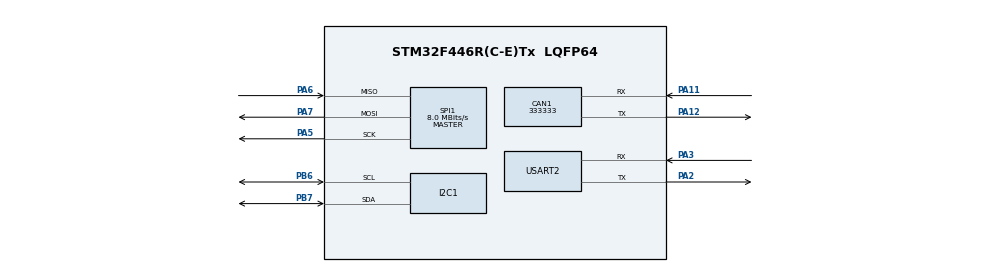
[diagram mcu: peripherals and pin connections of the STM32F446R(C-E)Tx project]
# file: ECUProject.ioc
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CAN1.CalculateBaudRate=333333
CAN1.CalculateTimeBit=3000
CAN1.CalculateTimeQuantum=1000.0
FREERTOS.Tasks01=defaultTask,24,128,StartDefaultTask,Default,NULL,Dynamic,NULL,NULL
Mcu.Family=STM32F4
Mcu.Name=STM32F446R(C-E)Tx
Mcu.Package=LQFP64
NVIC.CAN1_RX0_IRQn=true\:5\:0\:false\:false\:true\:true\:true\:true\:true
NVIC.PriorityGroup=NVIC_PRIORITYGROUP_4
PA11.Mode=CAN_Activate
PA11.Signal=CAN1_RX
PA12.Mode=CAN_Activate
PA12.Signal=CAN1_TX
PA2.Mode=Asynchronous
PA2.Signal=USART2_TX
PA3.Mode=Asynchronous
PA3.Signal=USART2_RX
PA5.Mode=Full_Duplex_Master
PA5.Signal=SPI1_SCK
PA6.Mode=Full_Duplex_Master
PA6.Signal=SPI1_MISO
PA7.Mode=Full_Duplex_Master
PA7.Signal=SPI1_MOSI
PB6.Mode=I2C
PB6.Signal=I2C1_SCL
PB7.Mode=I2C
PB7.Signal=I2C1_SDA
ProjectManager.HeapSize=0x200
ProjectManager.StackSize=0x400
ProjectManager.TargetToolchain=STM32CubeIDE
RCC.CortexFreq_Value=16000000
RCC.USBFreq_Value=96000000
RCC.VCOOutputFreq_Value=192000000
SPI1.CalculateBaudRate=8.0 MBits/s
SPI1.Direction=SPI_DIRECTION_2LINES
SPI1.Mode=SPI_MODE_MASTER
SPI1.VirtualType=VM_MASTER
USART2.VirtualMode=VM_ASYNC
VP_FREERTOS_VS_CMSIS_V2.Mode=CMSIS_V2
board=custom

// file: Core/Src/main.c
/* USER CODE BEGIN Header */
/**
  ******************************************************************************
  * @file           : main.c
  * @brief          : Main program body
  ******************************************************************************
  */
/* USER CODE END Header */
#include "main.h"
#include "cmsis_os.h"

/* USER CODE BEGIN Includes */
#include "pmic_mp5475.h"
#include "eeprom_25lc256.h"
#include "CAN_task.h"
#include "UART_task.h"
#include <stdio.h>
#include <string.h>
/* USER CODE END Includes */

CAN_HandleTypeDef hcan1;

I2C_HandleTypeDef hi2c1;

SPI_HandleTypeDef hspi1;

UART_HandleTypeDef huart2;

/* Definitions for defaultTask */
osThreadId_t defaultTaskHandle;
const osThreadAttr_t defaultTask_attributes = {
  .name = "defaultTask",
  .stack_size = 128 * 4,
  .priority = (osPriority_t) osPriorityNormal,
};
/* USER CODE BEGIN PV */
osThreadId_t i2cMonitorTaskHandle;
osThreadId_t spiEepromTaskHandle;
osThreadId_t dtcTaskhandle;
osThreadId_t canTaskHandle;
osThreadId_t uartTaskHandle;

osMutexId_t eepromMutexHandle;
osSemaphoreId_t i2cRxDoneSemaphoreHandle;
osSemaphoreId_t spiTxDoneSemaphoreHandle;
osSemaphoreId_t canTxDoneSemaphoreHandle;
osMessageQueueId_t CanQueueHandle;
osMutexId_t CommMutexHandleHandle;
osMessageQueueId_t dtcProcessingQueueHandle;
osMessageQueueId_t dtcQueueHandle;

volatile SystemState_t g_SystemState = SYS_STATE_INIT;
volatile I2C_State_t g_i2c_state = I2C_STATE_IDLE;

uint8_t g_i2c_rx_buffer[3];
/* USER CODE END PV */

void SystemClock_Config(void);
static void MX_GPIO_Init(void);
static void MX_CAN1_Init(void);
static void MX_I2C1_Init(void);
static void MX_SPI1_Init(void);
static void MX_USART2_UART_Init(void);
void StartDefaultTask(void *argument);
void Activate_Motor_And_Valve(void) { };
void Deactivate_Motor_And_Valve(void) { };

/* USER CODE BEGIN PFP */
int __io_putchar(int ch);
void MX_FREERTOS_Init(void);
/* USER CODE END PFP */

/* USER CODE BEGIN 0 */
int __io_putchar(int ch) {
    HAL_UART_Transmit(&huart2, (uint8_t *)&ch, 1, HAL_MAX_DELAY);
    return ch;
}

void BrakeControlTask(void *argument);
void I2cMonitorTask(void *argument);
void SpiEepromTask(void *argument);
void DtcProcessingTask(void *argument);
void HAL_I2C_ErrorCallback(I2C_HandleTypeDef *hi2c) { if (hi2c->Instance == I2C1) g_i2c_state = I2C_STATE_IDLE; }
void HAL_I2C_MemRxCpltCallback(I2C_HandleTypeDef *hi2c) { if (hi2c->Instance == I2C1) pmic_i2c_dma_rx_callback_handler(); }
void HAL_SPI_TxCpltCallback(SPI_HandleTypeDef *hspi) { if (hspi->Instance == SPI1) osSemaphoreRelease(spiTxDoneSemaphoreHandle); }
void HAL_CAN_TxMailbox0CompleteCallback(CAN_HandleTypeDef *hcan) { osSemaphoreRelease(canTxDoneSemaphoreHandle); }
void HAL_CAN_TxMailbox1CompleteCallback(CAN_HandleTypeDef *hcan) { osSemaphoreRelease(canTxDoneSemaphoreHandle); }
void HAL_CAN_TxMailbox2CompleteCallback(CAN_HandleTypeDef *hcan) { osSemaphoreRelease(canTxDoneSemaphoreHandle); }
void HAL_CAN_RxFifo0MsgPendingCallback(CAN_HandleTypeDef *hcan) { CAN_RxCallback(hcan); }
/* USER CODE END 0 */

int main(void)
{

  /* MCU Configuration--------------------------------------------------------*/

  /* Reset of all peripherals, Initializes the Flash interface and the Systick. */
  HAL_Init();

  /* Configure the system clock */
  SystemClock_Config();

  /* Initialize all configured peripherals */
  MX_GPIO_Init();
  MX_CAN1_Init();
  MX_I2C1_Init();
  MX_SPI1_Init();
  MX_USART2_UART_Init();
  /* USER CODE BEGIN 2 */
  CAN_FilterTypeDef canfilterconfig = {0};
  canfilterconfig.FilterActivation = CAN_FILTER_ENABLE;
  canfilterconfig.FilterMode = CAN_FILTERMODE_IDMASK;
  HAL_CAN_ConfigFilter(&hcan1, &canfilterconfig);

  CAN_Init();           // CAN 시작 + 인터럽트 활성화
  EEPROM_ReadDTC();     // 부팅 시 EEPROM에서 DTC 복원
  printf("ECU System Initialized.\r\n");
  /* USER CODE END 2 */

  /* Init scheduler */
  osKernelInitialize();

  /* USER CODE BEGIN RTOS_MUTEX */
  eepromMutexHandle = osMutexNew(NULL);
  /* USER CODE END RTOS_MUTEX */

  /* USER CODE BEGIN RTOS_SEMAPHORES */
  i2cRxDoneSemaphoreHandle = osSemaphoreNew(1, 0, NULL);
  spiTxDoneSemaphoreHandle = osSemaphoreNew(1, 0, NULL);
  canTxDoneSemaphoreHandle = osSemaphoreNew(1, 0, NULL);
  /* USER CODE END RTOS_SEMAPHORES */

  /* USER CODE BEGIN RTOS_QUEUES */
  CanQueueHandle = osMessageQueueNew(8, sizeof(uint8_t[8]), NULL);
  dtcProcessingQueueHandle = osMessageQueueNew(8, sizeof(DtcEvent_t), NULL);
  dtcQueueHandle = osMessageQueueNew(8, sizeof(uint32_t), NULL);

  /* USER CODE END RTOS_QUEUES */

  /* Create the thread(s) */
  /* creation of defaultTask */
  defaultTaskHandle = osThreadNew(StartDefaultTask, NULL, &defaultTask_attributes);

  /* USER CODE BEGIN RTOS_THREADS */
  const osThreadAttr_t i2cAttr  = { .stack_size = 256 * 4, .priority = osPriorityHigh };     /// 우선순위 반영
  const osThreadAttr_t spiAttr  = { .stack_size = 256 * 4, .priority = osPriorityAboveNormal };
  const osThreadAttr_t dtcAttr = { .stack_size = 256 * 4, .priority = osPriorityAboveNormal };
  const osThreadAttr_t canAttr  = { .stack_size = 256 * 4, .priority = osPriorityNormal };
  const osThreadAttr_t uartAttr = { .stack_size = 256 * 4, .priority = osPriorityBelowNormal };
  const osThreadAttr_t brakeCtrlAttr = { .name = "BrakeControl", .stack_size = 256 * 4, .priority = osPriorityHigh };

  i2cMonitorTaskHandle = osThreadNew(I2cMonitorTask , NULL, &i2cAttr);
  spiEepromTaskHandle  = osThreadNew(SpiEepromTask  , NULL, &spiAttr);
  dtcTaskhandle 	   = osThreadNew(DtcProcessingTask, NULL, &dtcAttr);
  canTaskHandle        = osThreadNew(CAN_StartTask, NULL, &canAttr);
  uartTaskHandle       = osThreadNew(UART_StartTask, NULL, &uartAttr);
  osThreadNew(BrakeControlTask, NULL, &brakeCtrlAttr);

  /* USER CODE END RTOS_THREADS */

  /* Start scheduler */
  osKernelStart();

  /* We should never get here as control is now taken by the scheduler */

  /* Infinite loop */
  while (1)
  {

  }
}

void SystemClock_Config(void)
{
  RCC_OscInitTypeDef RCC_OscInitStruct = {0};
  RCC_ClkInitTypeDef RCC_ClkInitStruct = {0};

  /** Configure the main internal regulator output voltage
  */
  __HAL_RCC_PWR_CLK_ENABLE();
  __HAL_PWR_VOLTAGESCALING_CONFIG(PWR_REGULATOR_VOLTAGE_SCALE3);

  /** Initializes the RCC Oscillators according to the specified parameters
  * in the RCC_OscInitTypeDef structure.
  */
  RCC_OscInitStruct.OscillatorType = RCC_OSCILLATORTYPE_HSI;
  RCC_OscInitStruct.HSIState = RCC_HSI_ON;
  RCC_OscInitStruct.HSICalibrationValue = RCC_HSICALIBRATION_DEFAULT;
  RCC_OscInitStruct.PLL.PLLState = RCC_PLL_NONE;
  if (HAL_RCC_OscConfig(&RCC_OscInitStruct) != HAL_OK)
  {
    Error_Handler();
  }

  /** Initializes the CPU, AHB and APB buses clocks
  */
  RCC_ClkInitStruct.ClockType = RCC_CLOCKTYPE_HCLK|RCC_CLOCKTYPE_SYSCLK
                              |RCC_CLOCKTYPE_PCLK1|RCC_CLOCKTYPE_PCLK2;
  RCC_ClkInitStruct.SYSCLKSource = RCC_SYSCLKSOURCE_HSI;
  RCC_ClkInitStruct.AHBCLKDivider = RCC_SYSCLK_DIV1;
  RCC_ClkInitStruct.APB1CLKDivider = RCC_HCLK_DIV1;
  RCC_ClkInitStruct.APB2CLKDivider = RCC_HCLK_DIV1;

  if (HAL_RCC_ClockConfig(&RCC_ClkInitStruct, FLASH_LATENCY_0) != HAL_OK)
  {
    Error_Handler();
  }
}

static void MX_CAN1_Init(void)
{

  hcan1.Instance = CAN1;
  hcan1.Init.Prescaler = 16;
  hcan1.Init.Mode = CAN_MODE_NORMAL;
  hcan1.Init.SyncJumpWidth = CAN_SJW_1TQ;
  hcan1.Init.TimeSeg1 = CAN_BS1_1TQ;
  hcan1.Init.TimeSeg2 = CAN_BS2_1TQ;
  hcan1.Init.TimeTriggeredMode = DISABLE;
  hcan1.Init.AutoBusOff = DISABLE;
  hcan1.Init.AutoWakeUp = DISABLE;
  hcan1.Init.AutoRetransmission = DISABLE;
  hcan1.Init.ReceiveFifoLocked = DISABLE;
  hcan1.Init.TransmitFifoPriority = DISABLE;
  if (HAL_CAN_Init(&hcan1) != HAL_OK)
  {
    Error_Handler();
  }

}

static void MX_I2C1_Init(void)
{

  hi2c1.Instance = I2C1;
  hi2c1.Init.ClockSpeed = 100000;
  hi2c1.Init.DutyCycle = I2C_DUTYCYCLE_2;
  hi2c1.Init.OwnAddress1 = 0;
  hi2c1.Init.AddressingMode = I2C_ADDRESSINGMODE_7BIT;
  hi2c1.Init.DualAddressMode = I2C_DUALADDRESS_DISABLE;
  hi2c1.Init.OwnAddress2 = 0;
  hi2c1.Init.GeneralCallMode = I2C_GENERALCALL_DISABLE;
  hi2c1.Init.NoStretchMode = I2C_NOSTRETCH_DISABLE;
  if (HAL_I2C_Init(&hi2c1) != HAL_OK)
  {
    Error_Handler();
  }

}

static void MX_SPI1_Init(void)
{

  /* SPI1 parameter configuration*/
  hspi1.Instance = SPI1;
  hspi1.Init.Mode = SPI_MODE_MASTER;
  hspi1.Init.Direction = SPI_DIRECTION_2LINES;
  hspi1.Init.DataSize = SPI_DATASIZE_8BIT;
  hspi1.Init.CLKPolarity = SPI_POLARITY_LOW;
  hspi1.Init.CLKPhase = SPI_PHASE_1EDGE;
  hspi1.Init.NSS = SPI_NSS_SOFT;
  hspi1.Init.BaudRatePrescaler = SPI_BAUDRATEPRESCALER_2;
  hspi1.Init.FirstBit = SPI_FIRSTBIT_MSB;
  hspi1.Init.TIMode = SPI_TIMODE_DISABLE;
  hspi1.Init.CRCCalculation = SPI_CRCCALCULATION_DISABLE;
  hspi1.Init.CRCPolynomial = 10;
  if (HAL_SPI_Init(&hspi1) != HAL_OK)
  {
    Error_Handler();
  }

}

static void MX_USART2_UART_Init(void)
{

  huart2.Instance = USART2;
  huart2.Init.BaudRate = 115200;
  huart2.Init.WordLength = UART_WORDLENGTH_8B;
  huart2.Init.StopBits = UART_STOPBITS_1;
  huart2.Init.Parity = UART_PARITY_NONE;
  huart2.Init.Mode = UART_MODE_TX_RX;
  huart2.Init.HwFlowCtl = UART_HWCONTROL_NONE;
  huart2.Init.OverSampling = UART_OVERSAMPLING_16;
  if (HAL_UART_Init(&huart2) != HAL_OK)
  {
    Error_Handler();
  }

}

static void MX_GPIO_Init(void)
{

  /* GPIO Ports Clock Enable */
  __HAL_RCC_GPIOA_CLK_ENABLE();
  __HAL_RCC_GPIOB_CLK_ENABLE();

}

/* USER CODE BEGIN 4 */
void I2cMonitorTask(void *argument) {
  for(;;) {
    pmic_request_fault_read_dma();   // PMIC 상태를 DMA로 읽기
    osDelay(200);
  }
}

void SpiEepromTask(void *argument) {
  for(;;) {
    osMutexAcquire(eepromMutexHandle, osWaitForever);
    EEPROM_WriteDTC();   // EEPROM에 DTC 백업
    osMutexRelease(eepromMutexHandle);
    osDelay(5000);
  }
}

void DtcProcessingTask(void *argument) {
    DtcEvent_t event;
    for(;;) {
        if (osMessageQueueGet(dtcProcessingQueueHandle, &event, NULL, osWaitForever) == osOK) {
            if (event.command == DTC_EVENT_WRITE) {
                osMutexAcquire(eepromMutexHandle, osWaitForever);
                EEPROM_LogNewDTC(event.dtc_code);                   // Fault 즉시 EEPROM 저장
                osMutexRelease(eepromMutexHandle);
            }
        }
    }
}

// 브레이크 페달 신호를 감지하고 시스템 상태를 관리하는 Task
void BrakeControlTask(void *argument) {
  for(;;) {
    bool isPedalPressed = (HAL_GPIO_ReadPin(GPIOC, GPIO_PIN_13) == GPIO_PIN_RESET);   // PC13 핀에 브레이크 페달 신호가 연결되어 있다고 가정
    bool isPressureZero = true;                // 압력을 확인하는 별도의 함수 구현 필요
    if (g_SystemState == SYS_STATE_FAULT) {    // fault 상태일 경우 모터, 밸브를 모두 deactivate 시킴
        Deactivate_Motor_And_Valve();
    }
    else if (isPedalPressed) {
      // 페달이 밟히면 즉시 브레이킹 상태로 전환
      if(g_SystemState != SYS_STATE_BRAKING) {
          g_SystemState = SYS_STATE_BRAKING;
      }
    }
    else {
      if (g_SystemState == SYS_STATE_BRAKING && isPressureZero) {            // 페달을 뗐고, 압력이 0이며, 현재 브레이킹 상태일 때만 IDLE로 복귀
          g_SystemState = SYS_STATE_IDLE;
      }
    }
    osDelay(20);
  }
}

// SW 다운로드 신호를 처리하는 GPIO 인터럽트 콜백 함수
void HAL_GPIO_EXTI_Callback(uint16_t GPIO_Pin) {
    if (GPIO_Pin == GPIO_PIN_0) {   				      // P0에 다운로드 시그널 연결 가정
        if (g_SystemState == SYS_STATE_BRAKING) {         // 브레이크 작동 중 상태에서는 다운로드 시그널 무시
            return;
        }
        if (g_SystemState == SYS_STATE_IDLE) {            // 브레이크 대기 상태에서만 다운로드
            g_SystemState = SYS_STATE_DOWNLOAD_READY;
        }
    }
}

/* USER CODE END 4 */

void StartDefaultTask(void *argument)
{
  for(;;)
  {
    osDelay(1);
  }
}

void Error_Handler(void)
{
  __disable_irq();
  while (1)
  {
  }
}
